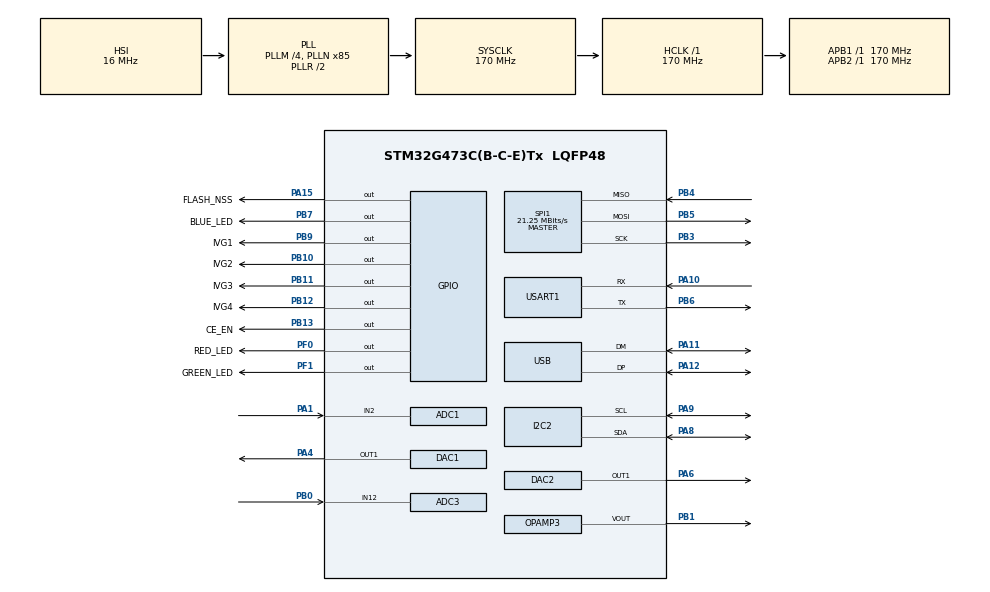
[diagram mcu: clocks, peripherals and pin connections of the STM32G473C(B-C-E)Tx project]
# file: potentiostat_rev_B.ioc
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ADC1.Channel-5\#ChannelRegularConversion=ADC_CHANNEL_2
ADC1.ContinuousConvMode=DISABLE
ADC1.NbrOfConversionFlag=1
ADC1.OffsetNumber-5\#ChannelRegularConversion=ADC_OFFSET_NONE
ADC1.Overrun=ADC_OVR_DATA_OVERWRITTEN
ADC1.OversamplingMode=ENABLE
ADC1.Rank-5\#ChannelRegularConversion=1
ADC1.Ratio=ADC_OVERSAMPLING_RATIO_16
ADC1.SamplingTime-5\#ChannelRegularConversion=ADC_SAMPLETIME_12CYCLES_5
ADC1.master=1
ADC3.Channel-0\#ChannelRegularConversion=ADC_CHANNEL_12
ADC3.NbrOfConversionFlag=1
ADC3.OffsetNumber-0\#ChannelRegularConversion=ADC_OFFSET_NONE
ADC3.OversamplingMode=ENABLE
ADC3.Rank-0\#ChannelRegularConversion=1
ADC3.Ratio=ADC_OVERSAMPLING_RATIO_4
ADC3.RightBitShift=ADC_RIGHTBITSHIFT_NONE
ADC3.SamplingTime-0\#ChannelRegularConversion=ADC_SAMPLETIME_12CYCLES_5
ADC3.master=1
ADC5.Channel-0\#ChannelRegularConversion=ADC_CHANNEL_VREFINT
ADC5.Channel-1\#ChannelRegularConversion=ADC_CHANNEL_TEMPSENSOR_ADC5
ADC5.Channel-2\#ChannelRegularConversion=ADC_CHANNEL_VBAT
ADC5.ContinuousConvMode=DISABLE
ADC5.NbrOfConversion=3
ADC5.NbrOfConversionFlag=1
ADC5.OffsetNumber-0\#ChannelRegularConversion=ADC_OFFSET_NONE
ADC5.OffsetNumber-1\#ChannelRegularConversion=ADC_OFFSET_NONE
ADC5.OffsetNumber-2\#ChannelRegularConversion=ADC_OFFSET_NONE
ADC5.Overrun=ADC_OVR_DATA_OVERWRITTEN
ADC5.OversamplingMode=ENABLE
ADC5.Rank-0\#ChannelRegularConversion=1
ADC5.Rank-1\#ChannelRegularConversion=2
ADC5.Rank-2\#ChannelRegularConversion=3
ADC5.Ratio=ADC_OVERSAMPLING_RATIO_16
ADC5.SamplingTime-0\#ChannelRegularConversion=ADC_SAMPLETIME_640CYCLES_5
ADC5.SamplingTime-1\#ChannelRegularConversion=ADC_SAMPLETIME_640CYCLES_5
ADC5.SamplingTime-2\#ChannelRegularConversion=ADC_SAMPLETIME_640CYCLES_5
CRC.CRCLength=CRC_POLYLENGTH_16B
CRC.DefaultInitValueUse=DEFAULT_INIT_VALUE_DISABLE
CRC.DefaultPolynomialUse=DEFAULT_POLYNOMIAL_DISABLE
CRC.GeneratingPolynomial=X15+X2+X0
CRC.InitValue=0xFFFF
CRC.InputDataInversionMode=CRC_INPUTDATA_INVERSION_BYTE
CRC.OutputDataInversionMode=CRC_OUTPUTDATA_INVERSION_ENABLE
DAC3.DAC_Channel-DAC_OUT2_Int=DAC_CHANNEL_2
Dma.ADC1.1.Direction=DMA_PERIPH_TO_MEMORY
Dma.ADC1.1.EventEnable=DISABLE
Dma.ADC1.1.Instance=DMA1_Channel1
Dma.ADC1.1.MemDataAlignment=DMA_MDATAALIGN_HALFWORD
Dma.ADC1.1.MemInc=DMA_MINC_ENABLE
Dma.ADC1.1.Mode=DMA_NORMAL
Dma.ADC1.1.PeriphDataAlignment=DMA_PDATAALIGN_HALFWORD
Dma.ADC1.1.PeriphInc=DMA_PINC_DISABLE
Dma.ADC1.1.Polarity=HAL_DMAMUX_REQ_GEN_RISING
Dma.ADC1.1.Priority=DMA_PRIORITY_MEDIUM
Dma.ADC1.1.RequestNumber=1
Dma.ADC1.1.SignalID=NONE
Dma.ADC1.1.SyncEnable=DISABLE
Dma.ADC1.1.SyncPolarity=HAL_DMAMUX_SYNC_NO_EVENT
Dma.ADC1.1.SyncRequestNumber=1
Dma.ADC1.1.SyncSignalID=NONE
Dma.ADC3.3.Direction=DMA_PERIPH_TO_MEMORY
Dma.ADC3.3.EventEnable=DISABLE
Dma.ADC3.3.Instance=DMA1_Channel2
Dma.ADC3.3.MemDataAlignment=DMA_MDATAALIGN_HALFWORD
Dma.ADC3.3.MemInc=DMA_MINC_ENABLE
Dma.ADC3.3.Mode=DMA_NORMAL
Dma.ADC3.3.PeriphDataAlignment=DMA_PDATAALIGN_HALFWORD
Dma.ADC3.3.PeriphInc=DMA_PINC_DISABLE
Dma.ADC3.3.Polarity=HAL_DMAMUX_REQ_GEN_RISING
Dma.ADC3.3.Priority=DMA_PRIORITY_MEDIUM
Dma.ADC3.3.RequestNumber=1
Dma.ADC3.3.SignalID=NONE
Dma.ADC3.3.SyncEnable=DISABLE
Dma.ADC3.3.SyncPolarity=HAL_DMAMUX_SYNC_NO_EVENT
Dma.ADC3.3.SyncRequestNumber=1
Dma.ADC3.3.SyncSignalID=NONE
Dma.ADC5.2.Direction=DMA_PERIPH_TO_MEMORY
Dma.ADC5.2.EventEnable=DISABLE
Dma.ADC5.2.Instance=DMA1_Channel3
Dma.ADC5.2.MemDataAlignment=DMA_MDATAALIGN_HALFWORD
Dma.ADC5.2.MemInc=DMA_MINC_ENABLE
Dma.ADC5.2.Mode=DMA_NORMAL
Dma.ADC5.2.PeriphDataAlignment=DMA_PDATAALIGN_HALFWORD
Dma.ADC5.2.PeriphInc=DMA_PINC_DISABLE
Dma.ADC5.2.Polarity=HAL_DMAMUX_REQ_GEN_RISING
Dma.ADC5.2.Priority=DMA_PRIORITY_LOW
Dma.ADC5.2.RequestNumber=1
Dma.ADC5.2.SignalID=NONE
Dma.ADC5.2.SyncEnable=DISABLE
Dma.ADC5.2.SyncPolarity=HAL_DMAMUX_SYNC_NO_EVENT
Dma.ADC5.2.SyncRequestNumber=1
Dma.ADC5.2.SyncSignalID=NONE
Dma.MEMTOMEM.0.Direction=DMA_MEMORY_TO_MEMORY
Dma.MEMTOMEM.0.EventEnable=DISABLE
Dma.MEMTOMEM.0.Instance=DMA1_Channel7
Dma.MEMTOMEM.0.MemDataAlignment=DMA_MDATAALIGN_BYTE
Dma.MEMTOMEM.0.MemInc=DMA_MINC_ENABLE
Dma.MEMTOMEM.0.Mode=DMA_NORMAL
Dma.MEMTOMEM.0.PeriphDataAlignment=DMA_PDATAALIGN_BYTE
Dma.MEMTOMEM.0.PeriphInc=DMA_PINC_ENABLE
Dma.MEMTOMEM.0.Polarity=HAL_DMAMUX_REQ_GEN_RISING
Dma.MEMTOMEM.0.Priority=DMA_PRIORITY_HIGH
Dma.MEMTOMEM.0.RequestNumber=1
Dma.MEMTOMEM.0.SignalID=NONE
Dma.MEMTOMEM.0.SyncEnable=DISABLE
Dma.MEMTOMEM.0.SyncPolarity=HAL_DMAMUX_SYNC_NO_EVENT
Dma.MEMTOMEM.0.SyncRequestNumber=1
Dma.MEMTOMEM.0.SyncSignalID=NONE
Dma.Request0=MEMTOMEM
Dma.Request1=ADC1
Dma.Request2=ADC5
Dma.Request3=ADC3
FATFS._MAX_SS=2048
FATFS._MIN_SS=2048
FATFS._USE_FIND=1
FATFS._USE_LFN=3
FREERTOS.Tasks01=defaultTask,24,128,StartDefaultTask,Default,NULL,Dynamic,NULL,NULL
FREERTOS.configENABLE_FPU=1
FREERTOS.configTOTAL_HEAP_SIZE=4096
FREERTOS.configUSE_NEWLIB_REENTRANT=1
I2C2.Timing=0x30A0A7FB
IWDG.Prescaler=IWDG_PRESCALER_16
LPTIM1.ClockPrescaler=LPTIM_PRESCALER_DIV32
Mcu.Family=STM32G4
Mcu.Name=STM32G473C(B-C-E)Tx
Mcu.Package=LQFP48
NVIC.DMA1_Channel1_IRQn=true\:5\:0\:false\:false\:true\:true\:false\:true\:true
NVIC.DMA1_Channel2_IRQn=true\:5\:0\:false\:false\:true\:true\:false\:true\:true
NVIC.DMA1_Channel3_IRQn=true\:5\:0\:false\:false\:true\:true\:false\:true\:true
NVIC.PriorityGroup=NVIC_PRIORITYGROUP_4
NVIC.TIM2_IRQn=true\:15\:0\:false\:false\:true\:false\:false\:true\:true
NVIC.TimeBase=TIM2_IRQn
NVIC.TimeBaseIP=TIM2
NVIC.USB_LP_IRQn=true\:5\:0\:false\:false\:true\:true\:false\:true\:true
PA1.Mode=IN2-Single-Ended
PA1.Signal=ADC1_IN2
PA10.Mode=Asynchronous
PA10.Signal=USART1_RX
PA11.Mode=Device
PA11.Signal=USB_DM
PA12.Mode=Device
PA12.Signal=USB_DP
PA13.Mode=Serial_Wire
PA13.Signal=SYS_JTMS-SWDIO
PA14.Mode=Serial_Wire
PA14.Signal=SYS_JTCK-SWCLK
PA15.GPIO_Label=FLASH_NSS
PA15.GPIO_Speed=GPIO_SPEED_FREQ_VERY_HIGH
PA15.PinState=GPIO_PIN_SET
PA15.Signal=GPIO_Output
PA4.Signal=COMP_DAC11_group
PA6.Signal=COMP_DAC21_group
PA8.Mode=I2C
PA8.Signal=I2C2_SDA
PA9.Mode=I2C
PA9.Signal=I2C2_SCL
PB0.Mode=IN12-Single-Ended
PB0.Signal=ADC3_IN12
PB1.Mode=Follower-DAC_OUT2-INP
PB1.Signal=OPAMP3_VOUT
PB10.GPIO_Label=IVG2
PB10.PinState=GPIO_PIN_SET
PB10.Signal=GPIO_Output
PB11.GPIO_Label=IVG3
PB11.PinState=GPIO_PIN_SET
PB11.Signal=GPIO_Output
PB12.GPIO_Label=IVG4
PB12.PinState=GPIO_PIN_SET
PB12.Signal=GPIO_Output
PB13.GPIO_Label=CE_EN
PB13.Signal=GPIO_Output
PB3.Mode=Full_Duplex_Master
PB3.Signal=SPI1_SCK
PB4.Mode=Full_Duplex_Master
PB4.Signal=SPI1_MISO
PB5.Mode=Full_Duplex_Master
PB5.Signal=SPI1_MOSI
PB6.Mode=Asynchronous
PB6.Signal=USART1_TX
PB7.GPIO_Label=BLUE_LED
PB7.GPIO_ModeDefaultOutputPP=GPIO_MODE_OUTPUT_OD
PB7.GPIO_PuPd=GPIO_NOPULL
PB7.PinState=GPIO_PIN_SET
PB7.Signal=GPIO_Output
PB9.GPIO_Label=IVG1
PB9.PinState=GPIO_PIN_SET
PB9.Signal=GPIO_Output
PC14-OSC32_IN.Mode=LSE-External-Oscillator
PC14-OSC32_IN.Signal=RCC_OSC32_IN
PC15-OSC32_OUT.Mode=LSE-External-Oscillator
PC15-OSC32_OUT.Signal=RCC_OSC32_OUT
PF0-OSC_IN.GPIO_Label=RED_LED
PF0-OSC_IN.GPIO_ModeDefaultOutputPP=GPIO_MODE_OUTPUT_OD
PF0-OSC_IN.GPIO_PuPd=GPIO_NOPULL
PF0-OSC_IN.PinState=GPIO_PIN_SET
PF0-OSC_IN.Signal=GPIO_Output
PF1-OSC_OUT.GPIO_Label=GREEN_LED
PF1-OSC_OUT.GPIO_ModeDefaultOutputPP=GPIO_MODE_OUTPUT_OD
PF1-OSC_OUT.GPIO_PuPd=GPIO_NOPULL
PF1-OSC_OUT.PinState=GPIO_PIN_SET
PF1-OSC_OUT.Signal=GPIO_Output
ProjectManager.HeapSize=0x200
ProjectManager.StackSize=0x400
ProjectManager.TargetToolchain=STM32CubeIDE
RCC.ADC12Freq_Value=170000000
RCC.ADC345Freq_Value=170000000
RCC.AHBFreq_Value=170000000
RCC.APB1Freq_Value=170000000
RCC.APB1TimFreq_Value=170000000
RCC.APB2Freq_Value=170000000
RCC.APB2TimFreq_Value=170000000
RCC.CK48CLockSelection=RCC_USBCLKSOURCE_HSI48
RCC.CortexFreq_Value=170000000
RCC.EXTERNAL_CLOCK_VALUE=12288000
RCC.EnableCSSLSE=true
RCC.HCLKFreq_Value=170000000
RCC.HSE_VALUE=8000000
RCC.HSI48_VALUE=48000000
RCC.HSI_VALUE=16000000
RCC.LPTIM1CLockSelection=RCC_LPTIM1CLKSOURCE_HSI
RCC.PLLM=RCC_PLLM_DIV4
RCC.PLLN=85
RCC.PLLQ=RCC_PLLQ_DIV8
RCC.RTCClockSelection=RCC_RTCCLKSOURCE_LSE
RCC.SYSCLKFreq_VALUE=170000000
RCC.SYSCLKSource=RCC_SYSCLKSOURCE_PLLCLK
RCC.USBFreq_Value=48000000
RCC.VCOOutputFreq_Value=340000000
SH.COMP_DAC11_group.0=DAC1_OUT1,DAC_OUT1
SH.COMP_DAC21_group.0=DAC2_OUT1,DAC_OUT1
SPI1.BaudRatePrescaler=SPI_BAUDRATEPRESCALER_8
SPI1.CLKPhase=SPI_PHASE_2EDGE
SPI1.CLKPolarity=SPI_POLARITY_HIGH
SPI1.CRCCalculation=SPI_CRCCALCULATION_DISABLE
SPI1.CalculateBaudRate=21.25 MBits/s
SPI1.DataSize=SPI_DATASIZE_8BIT
SPI1.Direction=SPI_DIRECTION_2LINES
SPI1.Mode=SPI_MODE_MASTER
SPI1.VirtualType=VM_MASTER
TIM1.ClockDivision=TIM_CLOCKDIVISION_DIV4
TIM1.Prescaler=42500
TIM1.TIM_MasterOutputTrigger=TIM_TRGO_ENABLE
TIM5.ClockDivision=TIM_CLOCKDIVISION_DIV1
TIM5.Prescaler=170
TIM5.TIM_MasterOutputTrigger=TIM_TRGO_ENABLE
USART1.VirtualMode-Asynchronous=VM_ASYNC
USB_DEVICE.CLASS_NAME_FS=CDC
USB_DEVICE.USBD_DEBUG_LEVEL=0
USB_DEVICE.USBD_LPM_ENABLED=0
USB_DEVICE.USBD_MAX_NUM_INTERFACES=1
USB_DEVICE.USBD_SELF_POWERED=0
USB_DEVICE.VirtualMode=Cdc
USB_DEVICE.VirtualModeFS=Cdc_FS
VP_ADC5_TempSens_Input.Mode=IN-TempSens
VP_ADC5_Vbat_Input.Mode=IN-Vbat
VP_ADC5_Vref_Input.Mode=IN-Vrefint
VP_CORDIC_VS_CORDIC.Mode=CORDIC_Activate
VP_CRC_VS_CRC.Mode=CRC_Activate
VP_DAC3_VS_DACI2.Mode=DAC_OUT2_Int
VP_FATFS_VS_Generic.Mode=User_defined
VP_FMAC_VS_FMAC.Mode=FMAC_Activate
VP_FREERTOS_VS_CMSIS_V2.Mode=CMSIS_V2
VP_IWDG_VS_IWDG.Mode=IWDG_Activate
VP_LPTIM1_VS_LPTIM_counterModeInternalClock.Mode=Counts__internal_clock_event_00
VP_RNG_VS_RNG.Mode=RNG_Activate
VP_RTC_VS_RTC_Activate.Mode=RTC_Enabled
VP_RTC_VS_RTC_Calendar.Mode=RTC_Calendar
VP_SYS_VS_DBSignals.Mode=DisableDeadBatterySignals
VP_SYS_VS_tim2.Mode=TIM2
VP_TIM1_VS_ClockSourceITR.Mode=TriggerSource_ITR0
VP_TIM5_VS_ClockSourceINT.Mode=Internal
VP_USB_DEVICE_VS_USB_DEVICE_CDC_FS.Mode=CDC_FS
board=custom

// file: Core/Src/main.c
/* USER CODE BEGIN Header */
/**
  ******************************************************************************
  * @file           : main.c
  * @brief          : Main program body
  ******************************************************************************
  * @attention
  *
  * <h2><center>&copy; Copyright (c) 2023 STMicroelectronics.
  * All rights reserved.</center></h2>
  *
  * This software component is licensed by ST under Ultimate Liberty license
  * SLA0044, the "License"; You may not use this file except in compliance with
  * the License. You may obtain a copy of the License at:
  *                             www.st.com/SLA0044
  *
  ******************************************************************************
  */
/* USER CODE END Header */
#include "main.h"
#include "cmsis_os.h"
#include "app_fatfs.h"
#include "usb_device.h"

/* USER CODE BEGIN Includes */
#include "user.h"
/* USER CODE END Includes */

ADC_HandleTypeDef hadc1;
ADC_HandleTypeDef hadc3;
ADC_HandleTypeDef hadc5;
DMA_HandleTypeDef hdma_adc1;
DMA_HandleTypeDef hdma_adc3;
DMA_HandleTypeDef hdma_adc5;

CORDIC_HandleTypeDef hcordic;

CRC_HandleTypeDef hcrc;

DAC_HandleTypeDef hdac1;
DAC_HandleTypeDef hdac2;
DAC_HandleTypeDef hdac3;

FMAC_HandleTypeDef hfmac;

I2C_HandleTypeDef hi2c2;

IWDG_HandleTypeDef hiwdg;

LPTIM_HandleTypeDef hlptim1;

OPAMP_HandleTypeDef hopamp3;

RNG_HandleTypeDef hrng;

RTC_HandleTypeDef hrtc;

SPI_HandleTypeDef hspi1;

TIM_HandleTypeDef htim1;
TIM_HandleTypeDef htim5;

UART_HandleTypeDef huart1;

DMA_HandleTypeDef hdma_memtomem_dma1_channel7;
/* Definitions for defaultTask */
osThreadId_t defaultTaskHandle;
const osThreadAttr_t defaultTask_attributes = {
  .name = "defaultTask",
  .priority = (osPriority_t) osPriorityNormal,
  .stack_size = 128 * 4
};

void SystemClock_Config(void);
static void MX_GPIO_Init(void);
static void MX_DMA_Init(void);
static void MX_ADC1_Init(void);
static void MX_CRC_Init(void);
static void MX_DAC1_Init(void);
static void MX_DAC2_Init(void);
static void MX_SPI1_Init(void);
static void MX_TIM1_Init(void);
static void MX_OPAMP3_Init(void);
static void MX_I2C2_Init(void);
static void MX_DAC3_Init(void);
static void MX_RTC_Init(void);
static void MX_USART1_UART_Init(void);
static void MX_CORDIC_Init(void);
static void MX_FMAC_Init(void);
static void MX_RNG_Init(void);
static void MX_LPTIM1_Init(void);
static void MX_TIM5_Init(void);
static void MX_ADC5_Init(void);
static void MX_IWDG_Init(void);
static void MX_ADC3_Init(void);
void StartDefaultTask(void *argument);

/* USER CODE BEGIN 0 */

/* Why the MCU last rebooted, captured from the sticky reset flags at boot and
 * reported to the host by the diagnostics query. Lets the software tell a
 * watchdog reset (firmware froze mid-run) from a normal power-up. */
uint32_t reset_cause_raw = 0;

#define USB_GPIO_Port GPIOA
#define USB_DM_Pin GPIO_PIN_11
#define USB_DP_Pin GPIO_PIN_12

static void DisconnectUsbPort(void)
{
	GPIO_InitTypeDef GPIO_InitStruct = {0};

	/*Configure GPIO pins : USB_DM_Pin PA11 USB_DP_Pin */

	GPIO_InitStruct.Pin = USB_DM_Pin|USB_DP_Pin;
	GPIO_InitStruct.Mode = GPIO_MODE_OUTPUT_OD;
	GPIO_InitStruct.Pull = GPIO_NOPULL;
	GPIO_InitStruct.Speed = GPIO_SPEED_FREQ_LOW;

	HAL_GPIO_Init(USB_GPIO_Port, &GPIO_InitStruct);
}
/* USER CODE END 0 */

int main(void)
 {
  /* USER CODE BEGIN 1 */

  /* Snapshot the reset-cause flags first, then clear them so the next boot
   * reports only its own cause. */
  reset_cause_raw = RCC->CSR;
  __HAL_RCC_CLEAR_RESET_FLAGS();

  /* USER CODE END 1 */

  /* MCU Configuration--------------------------------------------------------*/

  /* Reset of all peripherals, Initializes the Flash interface and the Systick. */
  HAL_Init();

  /* Configure the system clock */
  SystemClock_Config();

  /* Initialize all configured peripherals */
  MX_GPIO_Init();
  DisconnectUsbPort();
  MX_DMA_Init();
  MX_ADC1_Init();
  MX_CRC_Init();
  MX_DAC1_Init();
  MX_DAC2_Init();
  MX_SPI1_Init();
  MX_USB_Device_Init();
  MX_TIM1_Init();
  MX_OPAMP3_Init();
  MX_I2C2_Init();
  MX_DAC3_Init();
  MX_RTC_Init();
  MX_USART1_UART_Init();
/*  if (MX_FATFS_Init() != APP_OK) {
    Error_Handler();
  }*/
  MX_CORDIC_Init();
  MX_FMAC_Init();
  MX_RNG_Init();
  MX_LPTIM1_Init();
  MX_TIM5_Init();
  MX_ADC5_Init();
  MX_IWDG_Init();
  MX_ADC3_Init();
  /* USER CODE BEGIN 2 */

  DAC_Init(GetDAC_Cfg_Dflt());
  ADC_Init(GetAnalog_cfg_dflt());
  BlinkLed_Init();
  Humidity_Sensor_Task(&hi2c2);	// Function Initialization for SHTC3 humidity and temperature sensor
  Set_TIA_Gain(eTIA_SW_GAIN_100); // Selected resistor
  HAL_GPIO_WritePin(CE_EN_GPIO_Port, CE_EN_Pin, 0); // Set switch Off

  /* USER CODE END 2 */

  /* Init scheduler */
  osKernelInitialize();

  /* Create the thread(s) */
  /* creation of defaultTask */
  defaultTaskHandle = osThreadNew(StartDefaultTask, NULL, &defaultTask_attributes);

  /* USER CODE BEGIN RTOS_THREADS */
  const osThreadAttr_t PstatTask_attributes = {
    .name = "Pstat_Task",
    .priority = (osPriority_t) osPriorityAboveNormal,
    .stack_size = 512
  };

//  const osThreadAttr_t LedBlinkTask_attributes = {
//    .name = "Led_Blink_Task",
//    .priority = (osPriority_t) osPriorityBelowNormal,
//    .stack_size = 512
//  };

//  const osThreadAttr_t Triangle_attributes = {
//    .name = "Triangle_Task",
//    .priority = (osPriority_t) osPriorityNormal,
//    .stack_size = 512
//  };

  osThreadId_t pstat_thread = osThreadNew(Pstat_RunTime, NULL, &PstatTask_attributes);
  UNUSED(pstat_thread);

 // osThreadId_t LedBlink_thread = osThreadNew(BlinkLed_RunTime, NULL, &LedBlinkTask_attributes);
 // UNUSED(LedBlink_thread);

// osThreadId_t Triangle_thread = osThreadNew(Triangle_Test, NULL, &Triangle_attributes);
// UNUSED(Triangle_thread);

  /* USER CODE END RTOS_THREADS */

  /* Start scheduler */
  osKernelStart();

  /* We should never get here as control is now taken by the scheduler */
  /* Infinite loop */
  while (1)
  {

  }
}

void SystemClock_Config(void)
{
  RCC_OscInitTypeDef RCC_OscInitStruct = {0};
  RCC_ClkInitTypeDef RCC_ClkInitStruct = {0};

  /** Configure the main internal regulator output voltage
  */
  HAL_PWREx_ControlVoltageScaling(PWR_REGULATOR_VOLTAGE_SCALE1_BOOST);

  /** Configure LSE Drive Capability
  */
  HAL_PWR_EnableBkUpAccess();
  __HAL_RCC_LSEDRIVE_CONFIG(RCC_LSEDRIVE_LOW);

  /** Initializes the RCC Oscillators according to the specified parameters
  * in the RCC_OscInitTypeDef structure.
  */
  RCC_OscInitStruct.OscillatorType = RCC_OSCILLATORTYPE_HSI|RCC_OSCILLATORTYPE_HSI48
                              |RCC_OSCILLATORTYPE_LSI|RCC_OSCILLATORTYPE_LSE;
  RCC_OscInitStruct.LSEState = RCC_LSE_ON;
  RCC_OscInitStruct.HSIState = RCC_HSI_ON;
  RCC_OscInitStruct.HSICalibrationValue = RCC_HSICALIBRATION_DEFAULT;
  RCC_OscInitStruct.LSIState = RCC_LSI_ON;
  RCC_OscInitStruct.HSI48State = RCC_HSI48_ON;
  RCC_OscInitStruct.PLL.PLLState = RCC_PLL_ON;
  RCC_OscInitStruct.PLL.PLLSource = RCC_PLLSOURCE_HSI;
  RCC_OscInitStruct.PLL.PLLM = RCC_PLLM_DIV4;
  RCC_OscInitStruct.PLL.PLLN = 85;
  RCC_OscInitStruct.PLL.PLLP = RCC_PLLP_DIV2;
  RCC_OscInitStruct.PLL.PLLQ = RCC_PLLQ_DIV8;
  RCC_OscInitStruct.PLL.PLLR = RCC_PLLR_DIV2;
  if (HAL_RCC_OscConfig(&RCC_OscInitStruct) != HAL_OK)
  {
    Error_Handler();
  }

  /** Initializes the CPU, AHB and APB buses clocks
  */
  RCC_ClkInitStruct.ClockType = RCC_CLOCKTYPE_HCLK|RCC_CLOCKTYPE_SYSCLK
                              |RCC_CLOCKTYPE_PCLK1|RCC_CLOCKTYPE_PCLK2;
  RCC_ClkInitStruct.SYSCLKSource = RCC_SYSCLKSOURCE_PLLCLK;
  RCC_ClkInitStruct.AHBCLKDivider = RCC_SYSCLK_DIV1;
  RCC_ClkInitStruct.APB1CLKDivider = RCC_HCLK_DIV1;
  RCC_ClkInitStruct.APB2CLKDivider = RCC_HCLK_DIV1;

  if (HAL_RCC_ClockConfig(&RCC_ClkInitStruct, FLASH_LATENCY_4) != HAL_OK)
  {
    Error_Handler();
  }

  /** Enables the Clock Security System
  */
  HAL_RCC_EnableLSECSS();
}

static void MX_ADC1_Init(void)
{

  ADC_MultiModeTypeDef multimode = {0};
  ADC_ChannelConfTypeDef sConfig = {0};

  /** Common config
  */
  hadc1.Instance = ADC1;
  hadc1.Init.ClockPrescaler = ADC_CLOCK_SYNC_PCLK_DIV4;
  hadc1.Init.Resolution = ADC_RESOLUTION_12B;
  hadc1.Init.DataAlign = ADC_DATAALIGN_RIGHT;
  hadc1.Init.GainCompensation = 0;
  hadc1.Init.ScanConvMode = ADC_SCAN_DISABLE;
  hadc1.Init.EOCSelection = ADC_EOC_SINGLE_CONV;
  hadc1.Init.LowPowerAutoWait = DISABLE;
  hadc1.Init.ContinuousConvMode = DISABLE;
  hadc1.Init.NbrOfConversion = 1;
  hadc1.Init.DiscontinuousConvMode = DISABLE;
  hadc1.Init.ExternalTrigConv = ADC_SOFTWARE_START;
  hadc1.Init.ExternalTrigConvEdge = ADC_EXTERNALTRIGCONVEDGE_NONE;
  hadc1.Init.DMAContinuousRequests = DISABLE;
  hadc1.Init.Overrun = ADC_OVR_DATA_OVERWRITTEN;
  hadc1.Init.OversamplingMode = ENABLE;
  hadc1.Init.Oversampling.Ratio = ADC_OVERSAMPLING_RATIO_16;
  hadc1.Init.Oversampling.RightBitShift = ADC_RIGHTBITSHIFT_NONE;
  hadc1.Init.Oversampling.TriggeredMode = ADC_TRIGGEREDMODE_SINGLE_TRIGGER;
  hadc1.Init.Oversampling.OversamplingStopReset = ADC_REGOVERSAMPLING_CONTINUED_MODE;
  if (HAL_ADC_Init(&hadc1) != HAL_OK)
  {
    Error_Handler();
  }

  /** Configure the ADC multi-mode
  */
  multimode.Mode = ADC_MODE_INDEPENDENT;
  if (HAL_ADCEx_MultiModeConfigChannel(&hadc1, &multimode) != HAL_OK)
  {
    Error_Handler();
  }

  /** Configure Regular Channel
  */
  sConfig.Channel = ADC_CHANNEL_2;
  sConfig.Rank = ADC_REGULAR_RANK_1;
  sConfig.SamplingTime = ADC_SAMPLETIME_12CYCLES_5;
  sConfig.SingleDiff = ADC_SINGLE_ENDED;
  sConfig.OffsetNumber = ADC_OFFSET_NONE;
  sConfig.Offset = 0;
  if (HAL_ADC_ConfigChannel(&hadc1, &sConfig) != HAL_OK)
  {
    Error_Handler();
  }
  /* USER CODE BEGIN ADC1_Init 2 */
  /* Run the ADC calibration in single-ended mode */
  if (HAL_ADCEx_Calibration_Start(&hadc1, ADC_SINGLE_ENDED) != HAL_OK)
  {
    /* Calibration Error */
    Error_Handler();
  }

  /* USER CODE END ADC1_Init 2 */

}

static void MX_ADC3_Init(void)
{

  ADC_MultiModeTypeDef multimode = {0};
  ADC_ChannelConfTypeDef sConfig = {0};

  /** Common config
  */
  hadc3.Instance = ADC3;
  hadc3.Init.ClockPrescaler = ADC_CLOCK_SYNC_PCLK_DIV4;
  hadc3.Init.Resolution = ADC_RESOLUTION_12B;
  hadc3.Init.DataAlign = ADC_DATAALIGN_RIGHT;
  hadc3.Init.GainCompensation = 0;
  hadc3.Init.ScanConvMode = ADC_SCAN_DISABLE;
  hadc3.Init.EOCSelection = ADC_EOC_SINGLE_CONV;
  hadc3.Init.LowPowerAutoWait = DISABLE;
  hadc3.Init.ContinuousConvMode = DISABLE;
  hadc3.Init.NbrOfConversion = 1;
  hadc3.Init.DiscontinuousConvMode = DISABLE;
  hadc3.Init.ExternalTrigConv = ADC_SOFTWARE_START;
  hadc3.Init.ExternalTrigConvEdge = ADC_EXTERNALTRIGCONVEDGE_NONE;
  hadc3.Init.DMAContinuousRequests = DISABLE;
  hadc3.Init.Overrun = ADC_OVR_DATA_OVERWRITTEN;
  hadc3.Init.OversamplingMode = ENABLE;
  hadc3.Init.Oversampling.Ratio = ADC_OVERSAMPLING_RATIO_16;
  hadc3.Init.Oversampling.RightBitShift = ADC_RIGHTBITSHIFT_NONE;
  hadc3.Init.Oversampling.TriggeredMode = ADC_TRIGGEREDMODE_SINGLE_TRIGGER;
  hadc3.Init.Oversampling.OversamplingStopReset = ADC_REGOVERSAMPLING_CONTINUED_MODE;
  if (HAL_ADC_Init(&hadc3) != HAL_OK)
  {
    Error_Handler();
  }

  /** Configure the ADC multi-mode
  */
  multimode.Mode = ADC_MODE_INDEPENDENT;
  if (HAL_ADCEx_MultiModeConfigChannel(&hadc3, &multimode) != HAL_OK)
  {
    Error_Handler();
  }

  /** Configure Regular Channel
  */
  sConfig.Channel = ADC_CHANNEL_12;
  sConfig.Rank = ADC_REGULAR_RANK_1;
  sConfig.SamplingTime = ADC_SAMPLETIME_12CYCLES_5;
  sConfig.SingleDiff = ADC_SINGLE_ENDED;
  sConfig.OffsetNumber = ADC_OFFSET_NONE;
  sConfig.Offset = 0;
  if (HAL_ADC_ConfigChannel(&hadc3, &sConfig) != HAL_OK)
  {
    Error_Handler();
  }
  /* USER CODE BEGIN ADC3_Init 2 */

    /* Run the ADC calibration in single-ended mode */
    if (HAL_ADCEx_Calibration_Start(&hadc3, ADC_SINGLE_ENDED) != HAL_OK)
    {
      /* Calibration Error */
      Error_Handler();
    }

  /* USER CODE END ADC3_Init 2 */

}

static void MX_ADC5_Init(void)
{

  ADC_ChannelConfTypeDef sConfig = {0};

  /** Common config
  */
  hadc5.Instance = ADC5;
  hadc5.Init.ClockPrescaler = ADC_CLOCK_SYNC_PCLK_DIV4;
  hadc5.Init.Resolution = ADC_RESOLUTION_12B;
  hadc5.Init.DataAlign = ADC_DATAALIGN_RIGHT;
  hadc5.Init.GainCompensation = 0;
  hadc5.Init.ScanConvMode = ADC_SCAN_ENABLE;
  hadc5.Init.EOCSelection = ADC_EOC_SINGLE_CONV;
  hadc5.Init.LowPowerAutoWait = DISABLE;
  hadc5.Init.ContinuousConvMode = DISABLE;
  hadc5.Init.NbrOfConversion = 3;
  hadc5.Init.DiscontinuousConvMode = DISABLE;
  hadc5.Init.ExternalTrigConv = ADC_SOFTWARE_START;
  hadc5.Init.ExternalTrigConvEdge = ADC_EXTERNALTRIGCONVEDGE_NONE;
  hadc5.Init.DMAContinuousRequests = DISABLE;
  hadc5.Init.Overrun = ADC_OVR_DATA_OVERWRITTEN;
  hadc5.Init.OversamplingMode = ENABLE;
  hadc5.Init.Oversampling.Ratio = ADC_OVERSAMPLING_RATIO_16;
  hadc5.Init.Oversampling.RightBitShift = ADC_RIGHTBITSHIFT_NONE;
  hadc5.Init.Oversampling.TriggeredMode = ADC_TRIGGEREDMODE_SINGLE_TRIGGER;
  hadc5.Init.Oversampling.OversamplingStopReset = ADC_REGOVERSAMPLING_CONTINUED_MODE;
  if (HAL_ADC_Init(&hadc5) != HAL_OK)
  {
    Error_Handler();
  }

  /** Configure Regular Channel
  */
  sConfig.Channel = ADC_CHANNEL_VREFINT;
  sConfig.Rank = ADC_REGULAR_RANK_1;
  sConfig.SamplingTime = ADC_SAMPLETIME_640CYCLES_5;
  sConfig.SingleDiff = ADC_SINGLE_ENDED;
  sConfig.OffsetNumber = ADC_OFFSET_NONE;
  sConfig.Offset = 0;
  if (HAL_ADC_ConfigChannel(&hadc5, &sConfig) != HAL_OK)
  {
    Error_Handler();
  }

  /** Configure Regular Channel
  */
  sConfig.Channel = ADC_CHANNEL_TEMPSENSOR_ADC5;
  sConfig.Rank = ADC_REGULAR_RANK_2;
  if (HAL_ADC_ConfigChannel(&hadc5, &sConfig) != HAL_OK)
  {
    Error_Handler();
  }

  /** Configure Regular Channel
  */
  sConfig.Channel = ADC_CHANNEL_VBAT;
  sConfig.Rank = ADC_REGULAR_RANK_3;
  if (HAL_ADC_ConfigChannel(&hadc5, &sConfig) != HAL_OK)
  {
    Error_Handler();
  }
  /* USER CODE BEGIN ADC5_Init 2 */
  /* Run the ADC calibration in single-ended mode */
  if (HAL_ADCEx_Calibration_Start(&hadc5, ADC_SINGLE_ENDED) != HAL_OK)
  {
    /* Calibration Error */
    Error_Handler();
  }

  /* USER CODE END ADC5_Init 2 */

}

static void MX_CORDIC_Init(void)
{

  hcordic.Instance = CORDIC;
  if (HAL_CORDIC_Init(&hcordic) != HAL_OK)
  {
    Error_Handler();
  }

}

static void MX_CRC_Init(void)
{

  hcrc.Instance = CRC;
  hcrc.Init.DefaultPolynomialUse = DEFAULT_POLYNOMIAL_DISABLE;
  hcrc.Init.DefaultInitValueUse = DEFAULT_INIT_VALUE_DISABLE;
  hcrc.Init.GeneratingPolynomial = 32773;
  hcrc.Init.CRCLength = CRC_POLYLENGTH_16B;
  hcrc.Init.InitValue = 0xFFFF;
  hcrc.Init.InputDataInversionMode = CRC_INPUTDATA_INVERSION_BYTE;
  hcrc.Init.OutputDataInversionMode = CRC_OUTPUTDATA_INVERSION_ENABLE;
  hcrc.InputDataFormat = CRC_INPUTDATA_FORMAT_BYTES;
  if (HAL_CRC_Init(&hcrc) != HAL_OK)
  {
    Error_Handler();
  }

}

static void MX_DAC1_Init(void)
{

  DAC_ChannelConfTypeDef sConfig = {0};

  /** DAC Initialization
  */
  hdac1.Instance = DAC1;
  if (HAL_DAC_Init(&hdac1) != HAL_OK)
  {
    Error_Handler();
  }

  /** DAC channel OUT1 config
  */
  sConfig.DAC_HighFrequency = DAC_HIGH_FREQUENCY_INTERFACE_MODE_AUTOMATIC;
  sConfig.DAC_DMADoubleDataMode = DISABLE;
  sConfig.DAC_SignedFormat = DISABLE;
  sConfig.DAC_SampleAndHold = DAC_SAMPLEANDHOLD_DISABLE;
  sConfig.DAC_Trigger = DAC_TRIGGER_NONE;
  sConfig.DAC_Trigger2 = DAC_TRIGGER_NONE;
  sConfig.DAC_OutputBuffer = DAC_OUTPUTBUFFER_ENABLE;
  sConfig.DAC_ConnectOnChipPeripheral = DAC_CHIPCONNECT_EXTERNAL;
  sConfig.DAC_UserTrimming = DAC_TRIMMING_FACTORY;
  if (HAL_DAC_ConfigChannel(&hdac1, &sConfig, DAC_CHANNEL_1) != HAL_OK)
  {
    Error_Handler();
  }

}

static void MX_DAC2_Init(void)
{

  DAC_ChannelConfTypeDef sConfig = {0};

  /** DAC Initialization
  */
  hdac2.Instance = DAC2;
  if (HAL_DAC_Init(&hdac2) != HAL_OK)
  {
    Error_Handler();
  }

  /** DAC channel OUT1 config
  */
  sConfig.DAC_HighFrequency = DAC_HIGH_FREQUENCY_INTERFACE_MODE_AUTOMATIC;
  sConfig.DAC_DMADoubleDataMode = DISABLE;
  sConfig.DAC_SignedFormat = DISABLE;
  sConfig.DAC_SampleAndHold = DAC_SAMPLEANDHOLD_DISABLE;
  sConfig.DAC_Trigger = DAC_TRIGGER_NONE;
  sConfig.DAC_Trigger2 = DAC_TRIGGER_NONE;
  sConfig.DAC_OutputBuffer = DAC_OUTPUTBUFFER_ENABLE;
  sConfig.DAC_ConnectOnChipPeripheral = DAC_CHIPCONNECT_EXTERNAL;
  sConfig.DAC_UserTrimming = DAC_TRIMMING_FACTORY;
  if (HAL_DAC_ConfigChannel(&hdac2, &sConfig, DAC_CHANNEL_1) != HAL_OK)
  {
    Error_Handler();
  }

}

static void MX_DAC3_Init(void)
{

  DAC_ChannelConfTypeDef sConfig = {0};

  /** DAC Initialization
  */
  hdac3.Instance = DAC3;
  if (HAL_DAC_Init(&hdac3) != HAL_OK)
  {
    Error_Handler();
  }

  /** DAC channel OUT2 config
  */
  sConfig.DAC_HighFrequency = DAC_HIGH_FREQUENCY_INTERFACE_MODE_AUTOMATIC;
  sConfig.DAC_DMADoubleDataMode = DISABLE;
  sConfig.DAC_SignedFormat = DISABLE;
  sConfig.DAC_SampleAndHold = DAC_SAMPLEANDHOLD_DISABLE;
  sConfig.DAC_Trigger = DAC_TRIGGER_NONE;
  sConfig.DAC_Trigger2 = DAC_TRIGGER_NONE;
  sConfig.DAC_OutputBuffer = DAC_OUTPUTBUFFER_DISABLE;
  sConfig.DAC_ConnectOnChipPeripheral = DAC_CHIPCONNECT_INTERNAL;
  sConfig.DAC_UserTrimming = DAC_TRIMMING_FACTORY;
  if (HAL_DAC_ConfigChannel(&hdac3, &sConfig, DAC_CHANNEL_2) != HAL_OK)
  {
    Error_Handler();
  }

}

static void MX_FMAC_Init(void)
{

  hfmac.Instance = FMAC;
  if (HAL_FMAC_Init(&hfmac) != HAL_OK)
  {
    Error_Handler();
  }

}

static void MX_I2C2_Init(void)
{

  hi2c2.Instance = I2C2;
  hi2c2.Init.Timing = 0x30A0A7FB;
  hi2c2.Init.OwnAddress1 = 0;
  hi2c2.Init.AddressingMode = I2C_ADDRESSINGMODE_7BIT;
  hi2c2.Init.DualAddressMode = I2C_DUALADDRESS_DISABLE;
  hi2c2.Init.OwnAddress2 = 0;
  hi2c2.Init.OwnAddress2Masks = I2C_OA2_NOMASK;
  hi2c2.Init.GeneralCallMode = I2C_GENERALCALL_DISABLE;
  hi2c2.Init.NoStretchMode = I2C_NOSTRETCH_DISABLE;
  if (HAL_I2C_Init(&hi2c2) != HAL_OK)
  {
    Error_Handler();
  }

  /** Configure Analogue filter
  */
  if (HAL_I2CEx_ConfigAnalogFilter(&hi2c2, I2C_ANALOGFILTER_ENABLE) != HAL_OK)
  {
    Error_Handler();
  }

  /** Configure Digital filter
  */
  if (HAL_I2CEx_ConfigDigitalFilter(&hi2c2, 0) != HAL_OK)
  {
    Error_Handler();
  }

}

static void MX_IWDG_Init(void)
{

  hiwdg.Instance = IWDG;
  hiwdg.Init.Prescaler = IWDG_PRESCALER_16;
  hiwdg.Init.Window = 4095;
  hiwdg.Init.Reload = 4095;
  if (HAL_IWDG_Init(&hiwdg) != HAL_OK)
  {
    Error_Handler();
  }

}

static void MX_LPTIM1_Init(void)
{

  hlptim1.Instance = LPTIM1;
  hlptim1.Init.Clock.Source = LPTIM_CLOCKSOURCE_APBCLOCK_LPOSC;
  hlptim1.Init.Clock.Prescaler = LPTIM_PRESCALER_DIV32;
  hlptim1.Init.Trigger.Source = LPTIM_TRIGSOURCE_SOFTWARE;
  hlptim1.Init.OutputPolarity = LPTIM_OUTPUTPOLARITY_HIGH;
  hlptim1.Init.UpdateMode = LPTIM_UPDATE_IMMEDIATE;
  hlptim1.Init.CounterSource = LPTIM_COUNTERSOURCE_INTERNAL;
  hlptim1.Init.Input1Source = LPTIM_INPUT1SOURCE_GPIO;
  hlptim1.Init.Input2Source = LPTIM_INPUT2SOURCE_GPIO;
  if (HAL_LPTIM_Init(&hlptim1) != HAL_OK)
  {
    Error_Handler();
  }

}

static void MX_OPAMP3_Init(void)
{

  hopamp3.Instance = OPAMP3;
  hopamp3.Init.PowerMode = OPAMP_POWERMODE_NORMALSPEED;
  hopamp3.Init.Mode = OPAMP_FOLLOWER_MODE;
  hopamp3.Init.NonInvertingInput = OPAMP_NONINVERTINGINPUT_DAC;
  hopamp3.Init.InternalOutput = DISABLE;
  hopamp3.Init.TimerControlledMuxmode = OPAMP_TIMERCONTROLLEDMUXMODE_DISABLE;
  hopamp3.Init.UserTrimming = OPAMP_TRIMMING_FACTORY;
  if (HAL_OPAMP_Init(&hopamp3) != HAL_OK)
  {
    Error_Handler();
  }
  /* USER CODE BEGIN OPAMP3_Init 2 */

  HAL_OPAMP_Start(&hopamp3);

  /* USER CODE END OPAMP3_Init 2 */

}

static void MX_RNG_Init(void)
{

  hrng.Instance = RNG;
  hrng.Init.ClockErrorDetection = RNG_CED_ENABLE;
  if (HAL_RNG_Init(&hrng) != HAL_OK)
  {
    Error_Handler();
  }

}

static void MX_RTC_Init(void)
{

  RTC_TimeTypeDef sTime = {0};
  RTC_DateTypeDef sDate = {0};

  /** Initialize RTC Only
  */
  hrtc.Instance = RTC;
  hrtc.Init.HourFormat = RTC_HOURFORMAT_24;
  hrtc.Init.AsynchPrediv = 127;
  hrtc.Init.SynchPrediv = 255;
  hrtc.Init.OutPut = RTC_OUTPUT_DISABLE;
  hrtc.Init.OutPutRemap = RTC_OUTPUT_REMAP_NONE;
  hrtc.Init.OutPutPolarity = RTC_OUTPUT_POLARITY_HIGH;
  hrtc.Init.OutPutType = RTC_OUTPUT_TYPE_OPENDRAIN;
  hrtc.Init.OutPutPullUp = RTC_OUTPUT_PULLUP_NONE;
  if (HAL_RTC_Init(&hrtc) != HAL_OK)
  {
    Error_Handler();
  }

  /** Initialize RTC and set the Time and Date
  */
  sTime.Hours = 0x0;
  sTime.Minutes = 0x0;
  sTime.Seconds = 0x0;
  sTime.SubSeconds = 0x0;
  sTime.DayLightSaving = RTC_DAYLIGHTSAVING_NONE;
  sTime.StoreOperation = RTC_STOREOPERATION_RESET;
  if (HAL_RTC_SetTime(&hrtc, &sTime, RTC_FORMAT_BCD) != HAL_OK)
  {
    Error_Handler();
  }
  sDate.WeekDay = RTC_WEEKDAY_MONDAY;
  sDate.Month = RTC_MONTH_JANUARY;
  sDate.Date = 0x1;
  sDate.Year = 0x0;

  if (HAL_RTC_SetDate(&hrtc, &sDate, RTC_FORMAT_BCD) != HAL_OK)
  {
    Error_Handler();
  }

}

static void MX_SPI1_Init(void)
{

  /* SPI1 parameter configuration*/
  hspi1.Instance = SPI1;
  hspi1.Init.Mode = SPI_MODE_MASTER;
  hspi1.Init.Direction = SPI_DIRECTION_2LINES;
  hspi1.Init.DataSize = SPI_DATASIZE_8BIT;
  hspi1.Init.CLKPolarity = SPI_POLARITY_HIGH;
  hspi1.Init.CLKPhase = SPI_PHASE_2EDGE;
  hspi1.Init.NSS = SPI_NSS_SOFT;
  hspi1.Init.BaudRatePrescaler = SPI_BAUDRATEPRESCALER_8;
  hspi1.Init.FirstBit = SPI_FIRSTBIT_MSB;
  hspi1.Init.TIMode = SPI_TIMODE_DISABLE;
  hspi1.Init.CRCCalculation = SPI_CRCCALCULATION_DISABLE;
  hspi1.Init.CRCPolynomial = 7;
  hspi1.Init.CRCLength = SPI_CRC_LENGTH_DATASIZE;
  hspi1.Init.NSSPMode = SPI_NSS_PULSE_DISABLE;
  if (HAL_SPI_Init(&hspi1) != HAL_OK)
  {
    Error_Handler();
  }

}

static void MX_TIM1_Init(void)
{

  TIM_SlaveConfigTypeDef sSlaveConfig = {0};
  TIM_MasterConfigTypeDef sMasterConfig = {0};

  htim1.Instance = TIM1;
  htim1.Init.Prescaler = 42500;
  htim1.Init.CounterMode = TIM_COUNTERMODE_UP;
  htim1.Init.Period = 65535;
  htim1.Init.ClockDivision = TIM_CLOCKDIVISION_DIV4;
  htim1.Init.RepetitionCounter = 0;
  htim1.Init.AutoReloadPreload = TIM_AUTORELOAD_PRELOAD_DISABLE;
  if (HAL_TIM_Base_Init(&htim1) != HAL_OK)
  {
    Error_Handler();
  }
  sSlaveConfig.SlaveMode = TIM_SLAVEMODE_DISABLE;
  sSlaveConfig.InputTrigger = TIM_TS_ITR0;
  if (HAL_TIM_SlaveConfigSynchro(&htim1, &sSlaveConfig) != HAL_OK)
  {
    Error_Handler();
  }
  sMasterConfig.MasterOutputTrigger = TIM_TRGO_ENABLE;
  sMasterConfig.MasterOutputTrigger2 = TIM_TRGO2_RESET;
  sMasterConfig.MasterSlaveMode = TIM_MASTERSLAVEMODE_DISABLE;
  if (HAL_TIMEx_MasterConfigSynchronization(&htim1, &sMasterConfig) != HAL_OK)
  {
    Error_Handler();
  }
  /* USER CODE BEGIN TIM1_Init 2 */
  HAL_TIM_PWM_Start(&htim1, TIM_CHANNEL_1);
  HAL_TIM_PWM_Start(&htim1, TIM_CHANNEL_2);
  /* USER CODE END TIM1_Init 2 */

}

static void MX_TIM5_Init(void)
{

  TIM_ClockConfigTypeDef sClockSourceConfig = {0};
  TIM_MasterConfigTypeDef sMasterConfig = {0};

  htim5.Instance = TIM5;
  htim5.Init.Prescaler = 170;
  htim5.Init.CounterMode = TIM_COUNTERMODE_UP;
  htim5.Init.Period = 4.294967295E9;
  htim5.Init.ClockDivision = TIM_CLOCKDIVISION_DIV1;
  htim5.Init.AutoReloadPreload = TIM_AUTORELOAD_PRELOAD_DISABLE;
  if (HAL_TIM_Base_Init(&htim5) != HAL_OK)
  {
    Error_Handler();
  }
  sClockSourceConfig.ClockSource = TIM_CLOCKSOURCE_INTERNAL;
  if (HAL_TIM_ConfigClockSource(&htim5, &sClockSourceConfig) != HAL_OK)
  {
    Error_Handler();
  }
  sMasterConfig.MasterOutputTrigger = TIM_TRGO_ENABLE;
  sMasterConfig.MasterSlaveMode = TIM_MASTERSLAVEMODE_DISABLE;
  if (HAL_TIMEx_MasterConfigSynchronization(&htim5, &sMasterConfig) != HAL_OK)
  {
    Error_Handler();
  }
  /* USER CODE BEGIN TIM5_Init 2 */
  HAL_TIM_Base_Start(&htim5);

  /* USER CODE END TIM5_Init 2 */

}

static void MX_USART1_UART_Init(void)
{

  huart1.Instance = USART1;
  huart1.Init.BaudRate = 115200;
  huart1.Init.WordLength = UART_WORDLENGTH_8B;
  huart1.Init.StopBits = UART_STOPBITS_1;
  huart1.Init.Parity = UART_PARITY_NONE;
  huart1.Init.Mode = UART_MODE_TX_RX;
  huart1.Init.HwFlowCtl = UART_HWCONTROL_NONE;
  huart1.Init.OverSampling = UART_OVERSAMPLING_16;
  huart1.Init.OneBitSampling = UART_ONE_BIT_SAMPLE_DISABLE;
  huart1.Init.ClockPrescaler = UART_PRESCALER_DIV1;
  huart1.AdvancedInit.AdvFeatureInit = UART_ADVFEATURE_NO_INIT;
  if (HAL_UART_Init(&huart1) != HAL_OK)
  {
    Error_Handler();
  }
  if (HAL_UARTEx_SetTxFifoThreshold(&huart1, UART_TXFIFO_THRESHOLD_1_8) != HAL_OK)
  {
    Error_Handler();
  }
  if (HAL_UARTEx_SetRxFifoThreshold(&huart1, UART_RXFIFO_THRESHOLD_1_8) != HAL_OK)
  {
    Error_Handler();
  }
  if (HAL_UARTEx_DisableFifoMode(&huart1) != HAL_OK)
  {
    Error_Handler();
  }

}

static void MX_DMA_Init(void)
{

  /* DMA controller clock enable */
  __HAL_RCC_DMAMUX1_CLK_ENABLE();
  __HAL_RCC_DMA1_CLK_ENABLE();

  /* Configure DMA request hdma_memtomem_dma1_channel7 on DMA1_Channel7 */
  hdma_memtomem_dma1_channel7.Instance = DMA1_Channel7;
  hdma_memtomem_dma1_channel7.Init.Request = DMA_REQUEST_MEM2MEM;
  hdma_memtomem_dma1_channel7.Init.Direction = DMA_MEMORY_TO_MEMORY;
  hdma_memtomem_dma1_channel7.Init.PeriphInc = DMA_PINC_ENABLE;
  hdma_memtomem_dma1_channel7.Init.MemInc = DMA_MINC_ENABLE;
  hdma_memtomem_dma1_channel7.Init.PeriphDataAlignment = DMA_PDATAALIGN_BYTE;
  hdma_memtomem_dma1_channel7.Init.MemDataAlignment = DMA_MDATAALIGN_BYTE;
  hdma_memtomem_dma1_channel7.Init.Mode = DMA_NORMAL;
  hdma_memtomem_dma1_channel7.Init.Priority = DMA_PRIORITY_HIGH;
  if (HAL_DMA_Init(&hdma_memtomem_dma1_channel7) != HAL_OK)
  {
    Error_Handler( );
  }

  /* DMA interrupt init */
  /* DMA1_Channel1_IRQn interrupt configuration */
  HAL_NVIC_SetPriority(DMA1_Channel1_IRQn, 5, 0);
  HAL_NVIC_EnableIRQ(DMA1_Channel1_IRQn);
  /* DMA1_Channel2_IRQn interrupt configuration */
  HAL_NVIC_SetPriority(DMA1_Channel2_IRQn, 5, 0);
  HAL_NVIC_EnableIRQ(DMA1_Channel2_IRQn);
  /* DMA1_Channel3_IRQn interrupt configuration */
  HAL_NVIC_SetPriority(DMA1_Channel3_IRQn, 5, 0);
  HAL_NVIC_EnableIRQ(DMA1_Channel3_IRQn);

}

static void MX_GPIO_Init(void)
{
  GPIO_InitTypeDef GPIO_InitStruct = {0};

  /* GPIO Ports Clock Enable */
  __HAL_RCC_GPIOC_CLK_ENABLE();
  __HAL_RCC_GPIOF_CLK_ENABLE();
  __HAL_RCC_GPIOG_CLK_ENABLE();
  __HAL_RCC_GPIOA_CLK_ENABLE();
  __HAL_RCC_GPIOB_CLK_ENABLE();

  /*Configure GPIO pin Output Level */
  HAL_GPIO_WritePin(GPIOF, RED_LED_Pin|GREEN_LED_Pin, GPIO_PIN_SET);

  /*Configure GPIO pin Output Level */
  HAL_GPIO_WritePin(GPIOB, IVG2_Pin|IVG3_Pin|IVG4_Pin|BLUE_LED_Pin
                          |IVG1_Pin, GPIO_PIN_SET);

  /*Configure GPIO pin Output Level */
  HAL_GPIO_WritePin(CE_EN_GPIO_Port, CE_EN_Pin, GPIO_PIN_RESET);

  /*Configure GPIO pin Output Level */
  HAL_GPIO_WritePin(FLASH_NSS_GPIO_Port, FLASH_NSS_Pin, GPIO_PIN_SET);

  /*Configure GPIO pin : PC13 */
  GPIO_InitStruct.Pin = GPIO_PIN_13;
  GPIO_InitStruct.Mode = GPIO_MODE_ANALOG;
  GPIO_InitStruct.Pull = GPIO_NOPULL;
  HAL_GPIO_Init(GPIOC, &GPIO_InitStruct);

  /*Configure GPIO pins : RED_LED_Pin GREEN_LED_Pin */
  GPIO_InitStruct.Pin = RED_LED_Pin|GREEN_LED_Pin;
  GPIO_InitStruct.Mode = GPIO_MODE_OUTPUT_OD;
  GPIO_InitStruct.Pull = GPIO_NOPULL;
  GPIO_InitStruct.Speed = GPIO_SPEED_FREQ_LOW;
  HAL_GPIO_Init(GPIOF, &GPIO_InitStruct);

  /*Configure GPIO pin : PG10 */
  GPIO_InitStruct.Pin = GPIO_PIN_10;
  GPIO_InitStruct.Mode = GPIO_MODE_ANALOG;
  GPIO_InitStruct.Pull = GPIO_NOPULL;
  HAL_GPIO_Init(GPIOG, &GPIO_InitStruct);

  /*Configure GPIO pins : PA0 PA2 PA3 PA5
                           PA7 */
  GPIO_InitStruct.Pin = GPIO_PIN_0|GPIO_PIN_2|GPIO_PIN_3|GPIO_PIN_5
                          |GPIO_PIN_7;
  GPIO_InitStruct.Mode = GPIO_MODE_ANALOG;
  GPIO_InitStruct.Pull = GPIO_NOPULL;
  HAL_GPIO_Init(GPIOA, &GPIO_InitStruct);

  /*Configure GPIO pins : PB2 PB14 PB15 PB8 */
  GPIO_InitStruct.Pin = GPIO_PIN_2|GPIO_PIN_14|GPIO_PIN_15|GPIO_PIN_8;
  GPIO_InitStruct.Mode = GPIO_MODE_ANALOG;
  GPIO_InitStruct.Pull = GPIO_NOPULL;
  HAL_GPIO_Init(GPIOB, &GPIO_InitStruct);

  /*Configure GPIO pins : IVG2_Pin IVG3_Pin IVG4_Pin CE_EN_Pin
                           IVG1_Pin */
  GPIO_InitStruct.Pin = IVG2_Pin|IVG3_Pin|IVG4_Pin|CE_EN_Pin
                          |IVG1_Pin;
  GPIO_InitStruct.Mode = GPIO_MODE_OUTPUT_PP;
  GPIO_InitStruct.Pull = GPIO_NOPULL;
  GPIO_InitStruct.Speed = GPIO_SPEED_FREQ_LOW;
  HAL_GPIO_Init(GPIOB, &GPIO_InitStruct);

  /*Configure GPIO pin : FLASH_NSS_Pin */
  GPIO_InitStruct.Pin = FLASH_NSS_Pin;
  GPIO_InitStruct.Mode = GPIO_MODE_OUTPUT_PP;
  GPIO_InitStruct.Pull = GPIO_NOPULL;
  GPIO_InitStruct.Speed = GPIO_SPEED_FREQ_VERY_HIGH;
  HAL_GPIO_Init(FLASH_NSS_GPIO_Port, &GPIO_InitStruct);

  /*Configure GPIO pin : BLUE_LED_Pin */
  GPIO_InitStruct.Pin = BLUE_LED_Pin;
  GPIO_InitStruct.Mode = GPIO_MODE_OUTPUT_OD;
  GPIO_InitStruct.Pull = GPIO_NOPULL;
  GPIO_InitStruct.Speed = GPIO_SPEED_FREQ_LOW;
  HAL_GPIO_Init(BLUE_LED_GPIO_Port, &GPIO_InitStruct);

}

void StartDefaultTask(void *argument)
{
  for(;;)
  {
    osDelay(1);
  }
}

void HAL_TIM_PeriodElapsedCallback(TIM_HandleTypeDef *htim)
{
  if (htim->Instance == TIM2) {
    HAL_IncTick();
  }
}

void Error_Handler(void)
{
  __disable_irq();
  while (1)
  {
  }
}
